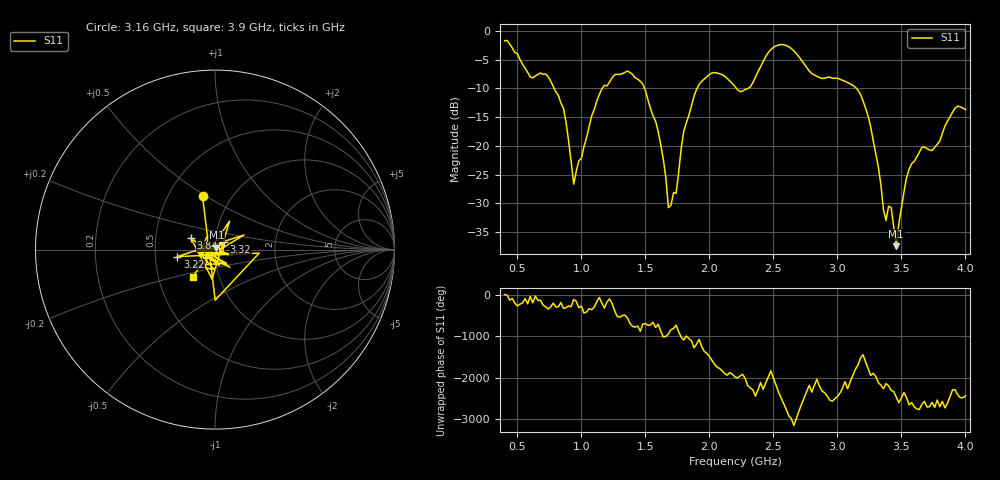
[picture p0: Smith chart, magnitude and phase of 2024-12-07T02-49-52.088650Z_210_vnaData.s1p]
!Created with skrf (http://scikit-rf.org).
# Hz S RI R 50.0
!freq ReS11 ImS11
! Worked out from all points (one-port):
!   181 points, 400 MHz to 4 GHz, reference 50 ohm
!   lowest |S11| = -37.4 dB at 3.46 GHz (marker M1), VSWR 1.03, Z = 50.8 + j1.09 ohm
!   |S11| at or under -10 dB: 787.7 MHz to 1.162 GHz (374.5 MHz wide, 38.4 % of centre); 1.494 GHz to 1.903 GHz (409.1 MHz wide, 24.1 % of centre); 3.149 GHz to end of sweep (the widest 3 of 4)
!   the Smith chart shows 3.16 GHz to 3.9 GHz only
!   S11 on the Smith chart (normalised r, x): 3.16 GHz: 0.73, +0.48; 3.22 GHz: 0.65, -0.05; 3.32 GHz: 1.10, +0.09; 3.84 GHz: 0.76, +0.10; 3.9 GHz: 0.75, -0.24
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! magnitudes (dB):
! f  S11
! 400 MHz  -1.7
! 600 MHz  -8.0
! 740 MHz  -7.9
! 860 MHz  -13.5
! 940 MHz  -26.6
! 1.14 GHz  -11.0
! 1.3 GHz  -7.6
! 1.5 GHz  -10.3
! 1.6 GHz  -17.5
! 1.68 GHz  -30.7
! 1.76 GHz  -24.6
! 1.8 GHz  -17.4
! 1.92 GHz  -9.3
! 2.2 GHz  -9.7
! 2.32 GHz  -9.7
! 2.5 GHz  -2.9
! 2.66 GHz  -3.5
! 3.1 GHz  -9.2
! 3.16 GHz  -10.3
! 3.22 GHz  -13.4
! 3.32 GHz  -23.6
! 3.36 GHz  -31.1
! 3.42 GHz  -30.7
! 3.46 GHz  -37.4
! 3.56 GHz  -24.1
! 3.84 GHz  -16.6
! 3.9 GHz  -14.1
! 4 GHz  -13.6
